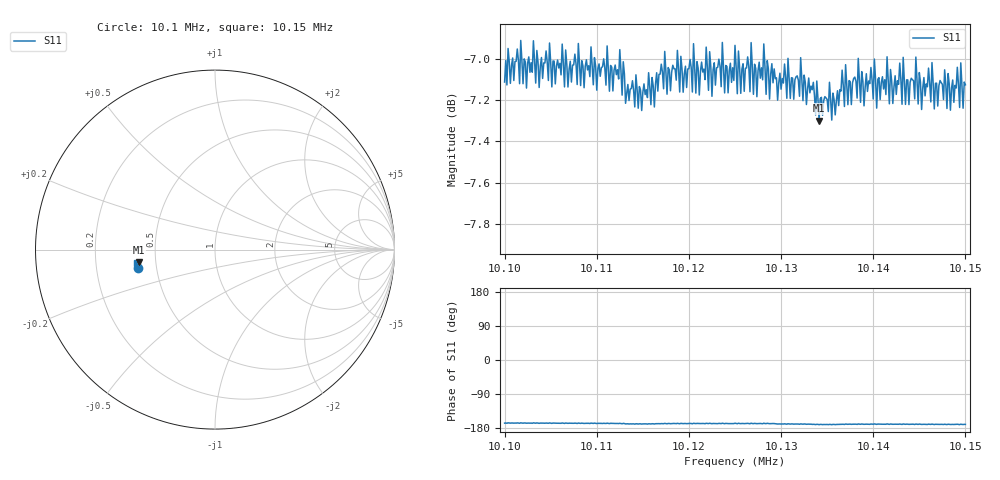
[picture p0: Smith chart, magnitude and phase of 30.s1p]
# Hz S RI R 50
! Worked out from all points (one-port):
!   401 points, 10.1 MHz to 10.15 MHz, reference 50 ohm
!   lowest |S11| = -7.3 dB at 10.1341 MHz (marker M1), VSWR 2.52, Z = 20 - j3.43 ohm
!   |S11| at or under -10 dB: nowhere
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1.01e7  -0.429 -0.102
1.01015e7  -0.4336 -0.1055
1.010625e7  -0.4374 -0.1076
1.010962e7  -0.4297 -0.0963
1.01125e7  -0.4377 -0.1003
1.011275e7  -0.4286 -0.0893
1.011338e7  -0.4313 -0.0892
1.011475e7  -0.4301 -0.088
1.0116e7  -0.4327 -0.0907
1.011725e7  -0.4299 -0.0905
1.011875e7  -0.4377 -0.0997
1.012212e7  -0.4291 -0.0927
1.0125e7  -0.4382 -0.1029
1.012838e7  -0.4282 -0.092
1.012912e7  -0.4306 -0.0942
1.012975e7  -0.4324 -0.0858
1.013125e7  -0.4334 -0.0864
1.013238e7  -0.429 -0.0801
1.013412e7  -0.4259 -0.0699
1.013575e7  -0.43 -0.0759
1.013688e7  -0.4285 -0.0746
1.01375e7  -0.4334 -0.082
1.014e7  -0.4296 -0.0793
1.014062e7  -0.4343 -0.0826
1.014312e7  -0.429 -0.0754
1.014375e7  -0.434 -0.0813
1.014438e7  -0.434 -0.0801
1.015e7  -0.4336 -0.0768
